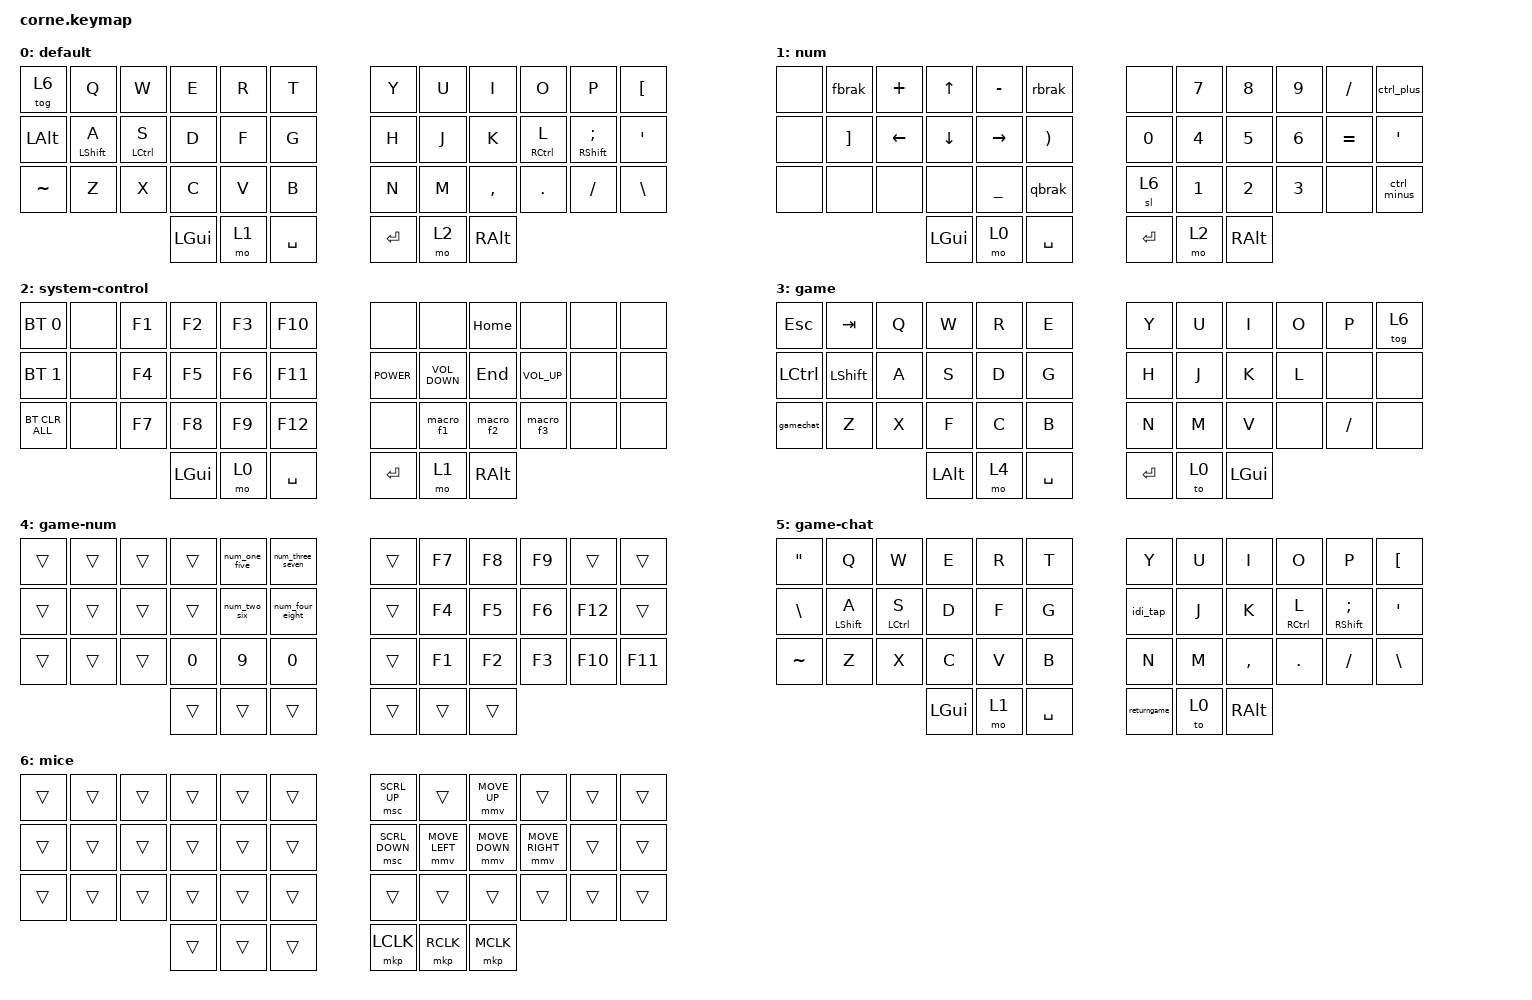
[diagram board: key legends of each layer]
/*
 * Copyright (c) 2020 The ZMK Contributors
 *
 * SPDX-License-Identifier: MIT
 */

#include <behaviors.dtsi>
#include <dt-bindings/zmk/bt.h>
#include <dt-bindings/zmk/keys.h>
#include <dt-bindings/zmk/pointing.h>

/ {
    combos {
        compatible = "zmk,combos";

        combo_esc {
            timeout-ms = <50>;
            key-positions = <14 15>;
            bindings = <&kp ESC>;
            layers = <0>;
        };

        backspace {
            bindings = <&kp BACKSPACE>;
            key-positions = <19 20>;
        };

        delete {
            bindings = <&kp DELETE>;
            key-positions = <21 20>;
        };

        tab {
            bindings = <&kp TAB>;
            key-positions = <15 16>;
            layers = <0>;
        };

        screenshot {
            bindings = <&kp PRINTSCREEN>;
            key-positions = <3 4>;
        };

        game-layer {
            bindings = <&to 3>;
            key-positions = <37 40>;
        };

        caps {
            bindings = <&kp CAPS>;
            key-positions = <32 31>;
        };

        ch-lang {
            bindings = <&lang>;
            key-positions = <7 8>;
        };
    };

    behaviors {
        ss_hs_modmorph: ss_hs_modmorph {
            compatible = "zmk,behavior-mod-morph";
            label = "SS_HS_MODMORPH";
            bindings = <&kp M>, <&kp RIGHT_BRACKET>;

            #binding-cells = <0>;
            mods = <(MOD_LSFT|MOD_RSFT)>;
        };

        kh_hs_tapdance: kh_hs_tapdance {
            compatible = "zmk,behavior-tap-dance";
            label = "KH_HS_TAPDANCE";
            #binding-cells = <0>;
            tapping-term-ms = <200>;
            bindings = <&kp LEFT_BRACKET>, <&kp RIGHT_BRACKET>;
        };

        hrm: hrm {
            compatible = "zmk,behavior-hold-tap";
            #binding-cells = <2>;
            flavor = "tap-preferred";
            tapping-term-ms = <200>;
            quick-tap-ms = <200>;
            require-prior-idle-ms = <125>;
            bindings = <&kp>, <&kp>;
        };

        idi_tap: idi_tap {
            compatible = "zmk,behavior-tap-dance";
            label = "IDI_TAP";
            #binding-cells = <0>;
            bindings = <&kp H>, <&idi>;
        };

        num_one_five: num_one_five {
            compatible = "zmk,behavior-tap-dance";
            label = "один и пять";
            #binding-cells = <0>;
            bindings = <&kp NUMBER_1>, <&kp N5>;

            tapping-term-ms = <300>;
        };

        num_two_six: num_two_six {
            compatible = "zmk,behavior-tap-dance";
            label = "NUM_TWO_SIX";
            #binding-cells = <0>;
            bindings = <&kp NUMBER_2>, <&kp NUMBER_6>;

            tapping-term-ms = <300>;
        };

        num_four_eight: num_four_eight {
            compatible = "zmk,behavior-tap-dance";
            label = "NUM_FOUR_EIGHT";
            #binding-cells = <0>;
            bindings = <&kp NUMBER_4>, <&kp N8>;

            tapping-term-ms = <300>;
        };

        num_three_seven: num_three_seven {
            compatible = "zmk,behavior-tap-dance";
            label = "NUM_THREE_SEVEN";
            #binding-cells = <0>;
            bindings = <&kp NUMBER_3>, <&kp N7>;

            tapping-term-ms = <300>;
        };
    };

    macros {
        macro_f1: f1 {
            compatible = "zmk,behavior-macro";
            #binding-cells = <0>;
            bindings = <&kp LC(LA(F1))>;
            label = "F1";
        };

        macro_f2: macro_f2 {
            compatible = "zmk,behavior-macro";
            #binding-cells = <0>;
            bindings = <&kp LC(LA(F2))>;
            label = "MACRO_F2";
        };

        macro_f3: macro_f3 {
            compatible = "zmk,behavior-macro";
            #binding-cells = <0>;
            bindings = <&kp LA(LC(F3))>;
            label = "MACRO_F3";
        };

        ctrl_plus: ctrl_plus {
            compatible = "zmk,behavior-macro";
            #binding-cells = <0>;
            bindings = <&kp LC(KP_PLUS)>;
            label = "CTRL_PLUS";
        };

        ctrl_minus: ctrl_minus {
            compatible = "zmk,behavior-macro";
            #binding-cells = <0>;
            bindings = <&kp LC(KP_MINUS)>;
            label = "CTRL_MINUS";
        };

        gamechat: gamechat {
            compatible = "zmk,behavior-macro";
            #binding-cells = <0>;
            bindings = <&kp T &to 5>;
            label = "GAMECHAT";
        };

        returngame: returngame {
            compatible = "zmk,behavior-macro";
            #binding-cells = <0>;
            bindings = <&kp RET &to 3>;
            label = "RETURNGAME";
        };

        rbrak: rbrak {
            compatible = "zmk,behavior-macro";
            #binding-cells = <0>;
            bindings = <&kp LPAR &kp RPAR &kp LEFT_ARROW>;
            label = "RBRAK";
        };

        qbrak: qbrak {
            compatible = "zmk,behavior-macro";
            #binding-cells = <0>;
            bindings = <&kp LBKT &kp RBKT &kp LEFT_ARROW>;
            label = "QBRAK";
        };

        fbrak: fbrak {
            compatible = "zmk,behavior-macro";
            #binding-cells = <0>;
            bindings = <&kp LBRC &kp RIGHT_BRACE &kp LEFT_ARROW>;
            label = "FBRAK";
        };

        idi: idi {
            compatible = "zmk,behavior-macro";
            #binding-cells = <0>;
            bindings = <&kp B &kp L &kp B &kp SPACE &kp Y &kp F &kp LBKT &kp E &kp Q>;
            label = "IDI";
        };

        lang: lang {
            compatible = "zmk,behavior-macro";
            #binding-cells = <0>;
            bindings = <&kp LG(SPACE)>;
            label = "LANG";
        };
    };

    keymap {
        compatible = "zmk,keymap";

        default {
            // -----------------------------------------------------------------------------------------
            // |  TAB |  Q  |  W  |  E  |  R  |  T  |   |  Y  |  U   |  I  |  O  |  P  | BKSP |
            // | CTRL |  A  |  S  |  D  |  F  |  G  |   |  H  |  J   |  K  |  L  |  ;  |  '   |
            // | SHFT |  Z  |  X  |  C  |  V  |  B  |   |  N  |  M   |  ,  |  .  |  /  | ESC  |
            //                    | GUI | LWR | SPC |   | ENT | RSE  | ALT |

            bindings = <
&tog 6        &kp Q              &kp W                &kp E     &kp R  &kp T        &kp Y    &kp U  &kp I      &kp O                 &kp P                  &kp LEFT_BRACKET
&kp LEFT_ALT  &hrm LEFT_SHIFT A  &hrm LEFT_CONTROL S  &kp D     &kp F  &kp G        &kp H    &kp J  &kp K      &hrm RIGHT_CONTROL L  &hrm RIGHT_SHIFT SEMI  &kp SQT
&kp TILDE     &kp Z              &kp X                &kp C     &kp V  &kp B        &kp N    &kp M  &kp COMMA  &kp DOT               &kp FSLH               &kp BACKSLASH
                                                      &kp LGUI  &mo 1  &kp SPACE    &kp RET  &mo 2  &kp RALT
            >;
        };

        num {
            // -----------------------------------------------------------------------------------------
            // |  TAB |  1  |  2  |  3  |  4  |  5  |   |  6  |  7  |  8  |  9  |  0  | BKSP |
            // | BTCLR| BT1 | BT2 | BT3 | BT4 | BT5 |   | LFT | DWN |  UP | RGT |     |      |
            // | SHFT |     |     |     |     |     |   |     |     |     |     |     |      |
            //                    | GUI |     | SPC |   | ENT |     | ALT |

            bindings = <
&none  &fbrak             &kp PLUS        &kp UP_ARROW    &kp MINUS        &rbrak                   &none         &kp N7        &kp N8        &kp N9        &kp SLASH  &ctrl_plus
&none  &kp RIGHT_BRACKET  &kp LEFT_ARROW  &kp DOWN_ARROW  &kp RIGHT_ARROW  &kp RIGHT_PARENTHESIS    &kp NUMBER_0  &kp NUMBER_4  &kp NUMBER_5  &kp NUMBER_6  &kp EQUAL  &kp SQT
&none  &none              &none           &none           &kp UNDER        &qbrak                   &sl 6         &kp NUMBER_1  &kp NUMBER_2  &kp NUMBER_3  &none      &ctrl_minus
                                          &kp LGUI        &mo 0            &kp SPACE                &kp RET       &mo 2         &kp RALT
            >;
        };

        system-control {
            // -----------------------------------------------------------------------------------------
            // |  TAB |  !  |  @  |  #  |  $  |  %  |   |  ^  |  &  |  *  |  (  |  )  | BKSP |
            // | CTRL |     |     |     |     |     |   |  -  |  =  |  [  |  ]  |  \  |  `   |
            // | SHFT |     |     |     |     |     |   |  _  |  +  |  {  |  }  | "|" |  ~   |
            //                    | GUI |     | SPC |   | ENT |     | ALT |

            bindings = <
&bt BT_SEL 0    &none  &kp F1  &kp F2    &kp F3  &kp F10      &none        &none              &kp HOME   &none            &none  &none
&bt BT_SEL 1    &none  &kp F4  &kp F5    &kp F6  &kp F11      &kp C_POWER  &kp C_VOLUME_DOWN  &kp END    &kp C_VOLUME_UP  &none  &none
&bt BT_CLR_ALL  &none  &kp F7  &kp F8    &kp F9  &kp F12      &none        &macro_f1          &macro_f2  &macro_f3        &none  &none
                               &kp LGUI  &mo 0   &kp SPACE    &kp RET      &mo 1              &kp RALT
            >;
        };

        game {
            bindings = <
&kp ESC           &kp TAB    &kp Q  &kp W         &kp R  &kp E        &kp Y      &kp U  &kp I         &kp O  &kp P     &tog 6
&kp LEFT_CONTROL  &kp LSHFT  &kp A  &kp S         &kp D  &kp G        &kp H      &kp J  &kp K         &kp L  &none     &none
&gamechat         &kp Z      &kp X  &kp F         &kp C  &kp B        &kp N      &kp M  &kp V         &none  &kp FSLH  &none
                                    &kp LEFT_ALT  &mo 4  &kp SPACE    &kp ENTER  &to 0  &kp LEFT_GUI
            >;
        };

        game-num {
            bindings = <
&trans  &trans  &trans  &trans  &num_one_five  &num_three_seven    &trans  &kp F7  &kp F8  &kp F9  &trans   &trans
&trans  &trans  &trans  &trans  &num_two_six   &num_four_eight     &trans  &kp F4  &kp F5  &kp F6  &kp F12  &trans
&trans  &trans  &trans  &kp N0  &kp N9         &kp N0              &trans  &kp F1  &kp F2  &kp F3  &kp F10  &kp F11
                        &trans  &trans         &trans              &trans  &trans  &trans
            >;
        };

        game-chat {
            bindings = <
&kp DOUBLE_QUOTES  &kp Q              &kp W                &kp E     &kp R  &kp T        &kp Y        &kp U  &kp I      &kp O                 &kp P                  &kp LEFT_BRACKET
&kp BACKSLASH      &hrm LEFT_SHIFT A  &hrm LEFT_CONTROL S  &kp D     &kp F  &kp G        &idi_tap     &kp J  &kp K      &hrm RIGHT_CONTROL L  &hrm RIGHT_SHIFT SEMI  &kp SQT
&kp TILDE          &kp Z              &kp X                &kp C     &kp V  &kp B        &kp N        &kp M  &kp COMMA  &kp DOT               &kp FSLH               &kp BACKSLASH
                                                           &kp LGUI  &mo 1  &kp SPACE    &returngame  &to 0  &kp RALT
            >;
        };

        mice {
            bindings = <
&trans  &trans  &trans  &trans  &trans  &trans    &msc SCRL_UP    &trans          &mmv MOVE_UP    &trans           &trans  &trans
&trans  &trans  &trans  &trans  &trans  &trans    &msc SCRL_DOWN  &mmv MOVE_LEFT  &mmv MOVE_DOWN  &mmv MOVE_RIGHT  &trans  &trans
&trans  &trans  &trans  &trans  &trans  &trans    &trans          &trans          &trans          &trans           &trans  &trans
                        &trans  &trans  &trans    &mkp LCLK       &mkp RCLK       &mkp MCLK
            >;
        };
    };
};
